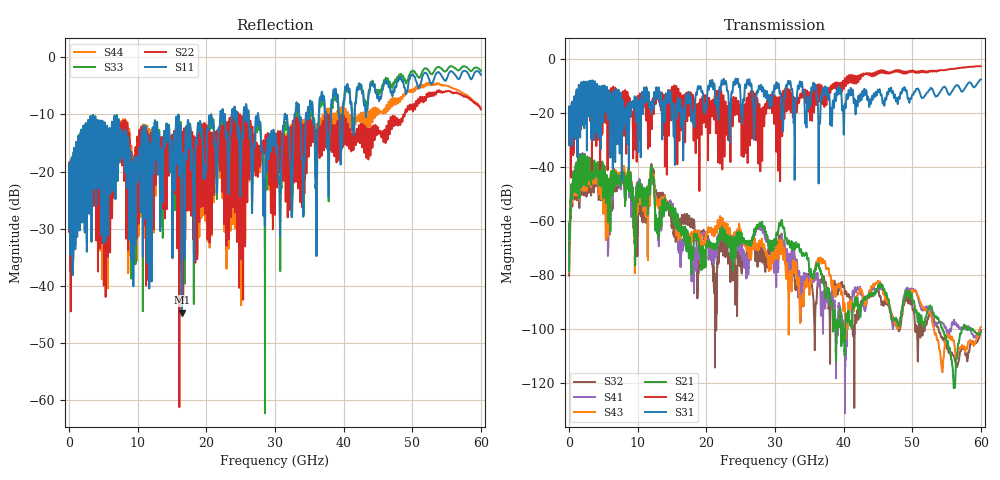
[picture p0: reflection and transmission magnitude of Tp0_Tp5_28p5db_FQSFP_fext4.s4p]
!4 port subset of full cascaded channels using these ports:9 37 10 38
# Hz S RI R 50
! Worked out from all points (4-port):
!   6000 points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, 10 MHz to 60 GHz, reference 50 ohm
!   strongest paths, dB at 10 MHz, 15.01 GHz, 30.01 GHz, 45.01 GHz, 60 GHz:
!     S31: -20.1, -19.9, -10.6, -11.5, -7.6
!     S42: -20.0, -10.7, -13.8, -5.2, -2.7
!     S21: -78.4, -57.2, -68.3, -84.0, -101.1
!     S43: -79.0, -56.3, -71.4, -82.1, -99.3
!     S41: -77.8, -54.9, -73.4, -85.8, -100.2
!     S32: -80.2, -60.4, -71.3, -85.3, -100.7
!   lowest |S11| = -44.7 dB at 16.41 GHz (marker M1), VSWR 1.01, Z = 49.4 - j0.124 ohm
!   |S11| at or under -10 dB: start of sweep to 20.71 GHz; 27.56 GHz to 31.41 GHz (3.852 GHz wide, 13.1 % of centre); 31.48 GHz to 32.87 GHz (1.398 GHz wide, 4.34 % of centre)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
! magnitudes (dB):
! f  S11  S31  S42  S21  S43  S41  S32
! 10 MHz  -22.0  -20.1  -20.0  -78.4  -79.0  -77.8  -80.2
! 2.18 GHz  -18.4  -15.7  -13.9  -46.5  -48.9  -47.2  -50.5
! 9.69 GHz  -30.1  -17.7  -17.5  -57.2  -63.9  -53.9  -52.3
! 12.13 GHz  -14.4  -15.9  -16.9  -43.5  -43.1  -45.5  -41.1
! 16.41 GHz  -44.7  -24.9  -16.8  -65.0  -62.1  -67.3  -58.6
! 21.29 GHz  -14.8  -13.8  -13.8  -68.3  -62.7  -69.0  -89.8
! 60 GHz  -3.1  -7.6  -2.7  -101.1  -99.3  -100.2  -100.7
